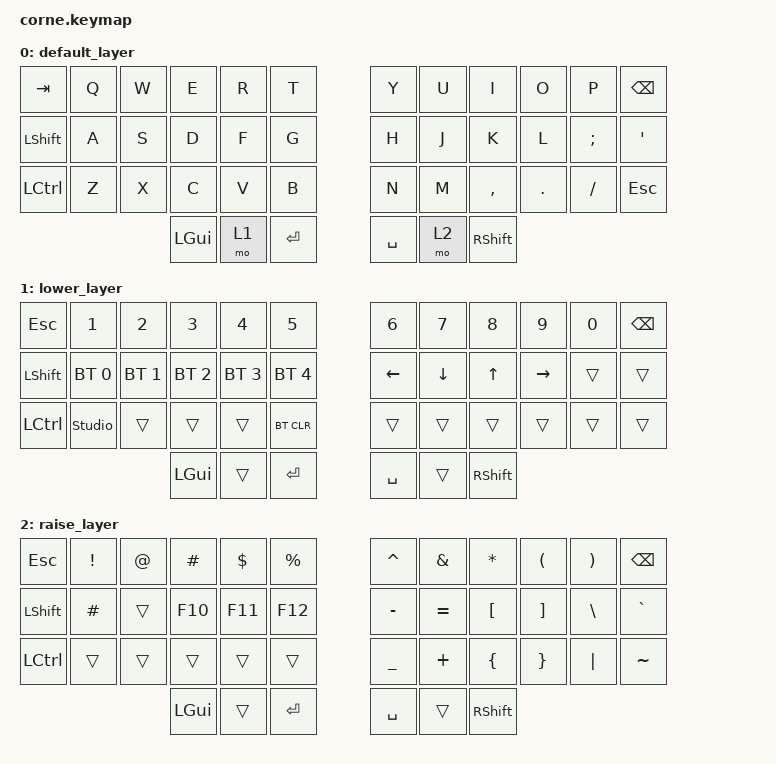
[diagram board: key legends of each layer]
/*
 * Copyright (c) 2020 The ZMK Contributors
 *
 * SPDX-License-Identifier: MIT
 */

#include <behaviors.dtsi>
#include <dt-bindings/zmk/keys.h>
#include <dt-bindings/zmk/bt.h>

/ {
        keymap {
                compatible = "zmk,keymap";

                default_layer {
// -----------------------------------------------------------------------------------------
// |  TAB |  Q  |  W  |  E  |  R  |  T  |   |  Y  |  U   |  I  |  O  |  P  | BSPC |
// | CTRL |  A  |  S  |  D  |  F  |  G  |   |  H  |  J   |  K  |  L  |  ;  |  '   |
// | SHFT |  Z  |  X  |  C  |  V  |  B  |   |  N  |  M   |  ,  |  .  |  /  | ESC  |
//                    | GUI | LWR | SPC |   | ENT | RSE  | ALT |
                        bindings = <
   &kp TAB   &kp Q &kp W &kp E &kp R &kp T   &kp Y &kp U  &kp I     &kp O   &kp P    &kp BSPC
   &kp LSHFT &kp A &kp S &kp D &kp F &kp G   &kp H &kp J  &kp K     &kp L   &kp SEMI &kp SQT
   &kp LCTRL &kp Z &kp X &kp C &kp V &kp B   &kp N &kp M  &kp COMMA &kp DOT &kp FSLH &kp ESC
                  &kp LGUI &mo 1 &kp RET   &kp SPACE &mo 2 &kp RSHFT
                        >;
                };
                lower_layer {
// -----------------------------------------------------------------------------------------
// |  TAB |  1  |  2  |  3  |  4  |  5  |   |  6  |  7  |  8  |  9  |  0  | BSPC |
// | BTCLR| BT1 | BT2 | BT3 | BT4 | BT5 |   | LFT | DWN |  UP | RGT |     |      |
// | SHFT |     |     |     |     |     |   |     |     |     |     |     |      |
//                    | GUI |     | SPC |   | ENT |     | ALT |
                        bindings = <
   &kp ESC    &kp N1          &kp N2       &kp N3       &kp N4       &kp N5         &kp N6   &kp N7   &kp N8 &kp N9    &kp N0 &kp BSPC
   &kp LSHFT &bt BT_SEL 0    &bt BT_SEL 1 &bt BT_SEL 2 &bt BT_SEL 3 &bt BT_SEL 4   &kp LEFT &kp DOWN &kp UP &kp RIGHT &trans &trans
   &kp LCTRL  &studio_unlock  &trans       &trans       &trans       &bt BT_CLR         &trans   &trans   &trans &trans    &trans &trans
                                    &kp LGUI     &trans       &kp RET      &kp SPACE  &trans   &kp RSHFT
                        >;
                };

                raise_layer {
// -----------------------------------------------------------------------------------------
// |  TAB |  !  |  @  |  #  |  $  |  %  |   |  ^  |  &  |  *  |  (  |  )  | BSPC |
// | CTRL |     |     |     |     |     |   |  -  |  =  |  [  |  ]  |  \  |  `   |
// | SHFT |     |     |     |     |     |   |  _  |  +  |  {  |  }  | "|" |  ~   |
//                    | GUI |     | SPC |   | ENT |     | ALT |
                        bindings = <
   &kp  ESC  &kp EXCL &kp AT &kp HASH &kp DLLR &kp PRCNT   &kp CARET &kp AMPS  &kp ASTRK &kp LPAR &kp RPAR &kp BSPC
   &kp LSHFT &kp HASH &trans &kp F10  &kp F11  &kp F12     &kp MINUS &kp EQUAL &kp LBKT  &kp RBKT &kp BSLH &kp GRAVE
   &kp LCTRL &trans   &trans &trans   &trans   &trans      &kp UNDER &kp PLUS  &kp LBRC  &kp RBRC &kp PIPE &kp TILDE
                             &kp LGUI &trans   &kp RET   &kp SPACE   &trans    &kp RSHFT
                        >;
                };
        };
};


